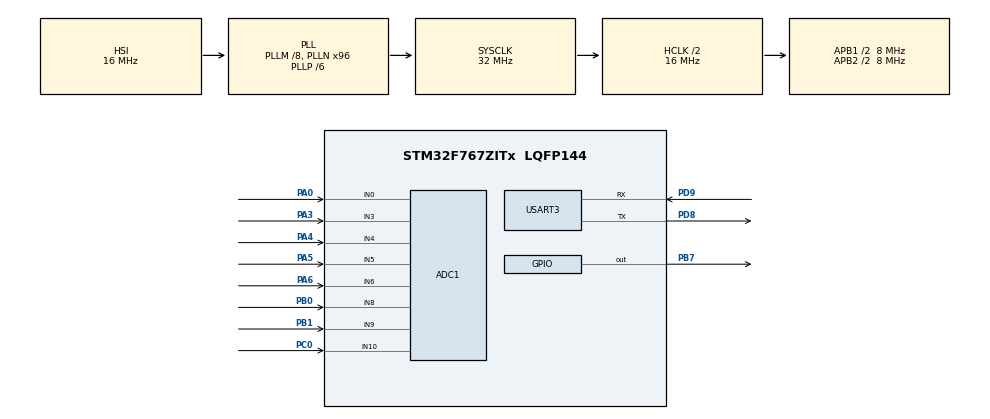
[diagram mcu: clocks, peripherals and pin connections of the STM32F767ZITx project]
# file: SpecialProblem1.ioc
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ADC1.Channel-10\#ChannelRegularConversion=ADC_CHANNEL_5
ADC1.Channel-11\#ChannelRegularConversion=ADC_CHANNEL_6
ADC1.Channel-12\#ChannelRegularConversion=ADC_CHANNEL_8
ADC1.Channel-13\#ChannelRegularConversion=ADC_CHANNEL_9
ADC1.Channel-14\#ChannelRegularConversion=ADC_CHANNEL_10
ADC1.Channel-7\#ChannelRegularConversion=ADC_CHANNEL_0
ADC1.Channel-8\#ChannelRegularConversion=ADC_CHANNEL_3
ADC1.Channel-9\#ChannelRegularConversion=ADC_CHANNEL_4
ADC1.ClockPrescaler=ADC_CLOCK_SYNC_PCLK_DIV8
ADC1.ContinuousConvMode=ENABLE
ADC1.DMAContinuousRequests=ENABLE
ADC1.EOCSelection=ADC_EOC_SEQ_CONV
ADC1.NbrOfConversion=8
ADC1.NbrOfConversionFlag=1
ADC1.Rank-10\#ChannelRegularConversion=4
ADC1.Rank-11\#ChannelRegularConversion=5
ADC1.Rank-12\#ChannelRegularConversion=6
ADC1.Rank-13\#ChannelRegularConversion=7
ADC1.Rank-14\#ChannelRegularConversion=8
ADC1.Rank-7\#ChannelRegularConversion=1
ADC1.Rank-8\#ChannelRegularConversion=2
ADC1.Rank-9\#ChannelRegularConversion=3
ADC1.SamplingTime-10\#ChannelRegularConversion=ADC_SAMPLETIME_3CYCLES
ADC1.SamplingTime-11\#ChannelRegularConversion=ADC_SAMPLETIME_3CYCLES
ADC1.SamplingTime-12\#ChannelRegularConversion=ADC_SAMPLETIME_3CYCLES
ADC1.SamplingTime-13\#ChannelRegularConversion=ADC_SAMPLETIME_3CYCLES
ADC1.SamplingTime-14\#ChannelRegularConversion=ADC_SAMPLETIME_3CYCLES
ADC1.SamplingTime-7\#ChannelRegularConversion=ADC_SAMPLETIME_3CYCLES
ADC1.SamplingTime-8\#ChannelRegularConversion=ADC_SAMPLETIME_3CYCLES
ADC1.SamplingTime-9\#ChannelRegularConversion=ADC_SAMPLETIME_3CYCLES
ADC1.ScanConvMode=ADC_SCAN_ENABLE
ADC1.master=1
CORTEX_M7.default_mode_Activation=1
Dma.ADC1.0.Direction=DMA_PERIPH_TO_MEMORY
Dma.ADC1.0.FIFOMode=DMA_FIFOMODE_DISABLE
Dma.ADC1.0.Instance=DMA2_Stream0
Dma.ADC1.0.MemDataAlignment=DMA_MDATAALIGN_WORD
Dma.ADC1.0.MemInc=DMA_MINC_ENABLE
Dma.ADC1.0.Mode=DMA_CIRCULAR
Dma.ADC1.0.PeriphDataAlignment=DMA_PDATAALIGN_WORD
Dma.ADC1.0.PeriphInc=DMA_PINC_DISABLE
Dma.ADC1.0.Priority=DMA_PRIORITY_LOW
Dma.Request0=ADC1
Mcu.Family=STM32F7
Mcu.Name=STM32F767ZITx
Mcu.Package=LQFP144
NVIC.DMA2_Stream0_IRQn=true\:1\:0\:true\:false\:true\:false\:true\:true
NVIC.PriorityGroup=NVIC_PRIORITYGROUP_2
PA0/WKUP.Signal=ADCx_IN0
PA3.Signal=ADCx_IN3
PA4.Signal=ADCx_IN4
PA5.Signal=ADCx_IN5
PA6.Signal=ADCx_IN6
PB0.Signal=ADCx_IN8
PB1.Signal=ADCx_IN9
PB7.Signal=GPIO_Output
PC0.Signal=ADCx_IN10
PD8.Mode=Asynchronous
PD8.Signal=USART3_TX
PD9.Mode=Asynchronous
PD9.Signal=USART3_RX
ProjectManager.HeapSize=0x200
ProjectManager.StackSize=0x400
ProjectManager.TargetToolchain=STM32CubeIDE
RCC.AHBCLKDivider=RCC_SYSCLK_DIV2
RCC.AHBFreq_Value=16000000
RCC.APB1CLKDivider=RCC_HCLK_DIV2
RCC.APB1Freq_Value=8000000
RCC.APB1TimFreq_Value=16000000
RCC.APB2CLKDivider=RCC_HCLK_DIV2
RCC.APB2Freq_Value=8000000
RCC.APB2TimFreq_Value=16000000
RCC.CortexFreq_Value=16000000
RCC.HCLKFreq_Value=16000000
RCC.HSE_VALUE=25000000
RCC.HSI_VALUE=16000000
RCC.LSE_VALUE=32768
RCC.PLLM=8
RCC.PLLN=96
RCC.PLLP=RCC_PLLP_DIV6
RCC.SYSCLKFreq_VALUE=32000000
RCC.SYSCLKSource=RCC_SYSCLKSOURCE_PLLCLK
RCC.USBFreq_Value=96000000
RCC.VCOOutputFreq_Value=192000000
SH.ADCx_IN0.0=ADC1_IN0,IN0
SH.ADCx_IN10.0=ADC1_IN10,IN10
SH.ADCx_IN3.0=ADC1_IN3,IN3
SH.ADCx_IN4.0=ADC1_IN4,IN4
SH.ADCx_IN5.0=ADC1_IN5,IN5
SH.ADCx_IN6.0=ADC1_IN6,IN6
SH.ADCx_IN8.0=ADC1_IN8,IN8
SH.ADCx_IN9.0=ADC1_IN9,IN9
USART3.VirtualMode-Asynchronous=VM_ASYNC
board=custom

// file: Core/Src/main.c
/* USER CODE BEGIN Header */
/**
  ******************************************************************************
  * @file           : main.c
  * @brief          : Main program body
  ******************************************************************************
  * @attention
  *
  * Copyright (c) 2025 STMicroelectronics.
  * All rights reserved.
  *
  * This software is licensed under terms that can be found in the LICENSE file
  * in the root directory of this software component.
  * If no LICENSE file comes with this software, it is provided AS-IS.
  *
  ******************************************************************************
  */
/* USER CODE END Header */
#include "main.h"
#include "adc.h"
#include "dma.h"
#include "usart.h"
#include "gpio.h"

/* USER CODE BEGIN Includes */
#include <stdio.h>
#include <string.h>
/* USER CODE END Includes */

/* USER CODE BEGIN PV */
uint32_t adc_buffer[8];
/* USER CODE END PV */

void SystemClock_Config(void);
static void MPU_Config(void);

/* USER CODE BEGIN 0 */
static void print_adc_line(int start, int stop) {
    char msg[160];
    char *p = msg;
    size_t remaining = sizeof(msg);

    for (int i = start; i < stop; i++) {
    	uint32_t value = adc_buffer[i];
        uint32_t millivolts = (value * 3300) / 4095;

        uint32_t volts_whole = millivolts / 1000;
        uint32_t volts_frac  = (millivolts % 1000) / 10;

        int n = snprintf(p, remaining, "ADC1_CH%d 0x%08lX Vin = %lu.%02lu V\r\n",
                         i, value, volts_whole, volts_frac);
        if (n < 0 || (size_t)n >= remaining) break;
        p += n;
        remaining -= n;
    }

    snprintf(p, remaining, "\r");

    HAL_UART_Transmit(&huart3, (uint8_t*)msg, strlen(msg), HAL_MAX_DELAY);
}

void HAL_ADC_ConvHalfCpltCallback(ADC_HandleTypeDef* hadc) {
    if (hadc->Instance == ADC1) {
    	print_adc_line(0, 4);
        HAL_GPIO_WritePin(GPIOB, GPIO_PIN_7, GPIO_PIN_SET);
        HAL_Delay(500);
    }
}

void HAL_ADC_ConvCpltCallback(ADC_HandleTypeDef* hadc) {
    if (hadc->Instance == ADC1) {
        HAL_GPIO_WritePin(GPIOB, GPIO_PIN_7, GPIO_PIN_RESET);
        print_adc_line(4, 8);
        HAL_Delay(500);
    }
}

/* USER CODE END 0 */

int main(void)
{

  /* MPU Configuration--------------------------------------------------------*/
  MPU_Config();

  /* MCU Configuration--------------------------------------------------------*/

  /* Reset of all peripherals, Initializes the Flash interface and the Systick. */
  HAL_Init();

  /* Configure the system clock */
  SystemClock_Config();

  /* Initialize all configured peripherals */
  MX_GPIO_Init();
  MX_DMA_Init();
  MX_ADC1_Init();
  MX_USART3_UART_Init();
  /* USER CODE BEGIN 2 */

  if (HAL_ADC_Start_DMA(&hadc1, (uint32_t*)adc_buffer, 8) != HAL_OK) {
        Error_Handler();
    }
  /* USER CODE END 2 */

  /* Infinite loop */
  while (1)
  {

  }
}

void SystemClock_Config(void)
{
  RCC_OscInitTypeDef RCC_OscInitStruct = {0};
  RCC_ClkInitTypeDef RCC_ClkInitStruct = {0};

  /** Configure the main internal regulator output voltage
  */
  __HAL_RCC_PWR_CLK_ENABLE();
  __HAL_PWR_VOLTAGESCALING_CONFIG(PWR_REGULATOR_VOLTAGE_SCALE3);

  /** Initializes the RCC Oscillators according to the specified parameters
  * in the RCC_OscInitTypeDef structure.
  */
  RCC_OscInitStruct.OscillatorType = RCC_OSCILLATORTYPE_HSI;
  RCC_OscInitStruct.HSIState = RCC_HSI_ON;
  RCC_OscInitStruct.HSICalibrationValue = RCC_HSICALIBRATION_DEFAULT;
  RCC_OscInitStruct.PLL.PLLState = RCC_PLL_ON;
  RCC_OscInitStruct.PLL.PLLSource = RCC_PLLSOURCE_HSI;
  RCC_OscInitStruct.PLL.PLLM = 8;
  RCC_OscInitStruct.PLL.PLLN = 96;
  RCC_OscInitStruct.PLL.PLLP = RCC_PLLP_DIV6;
  RCC_OscInitStruct.PLL.PLLQ = 2;
  RCC_OscInitStruct.PLL.PLLR = 2;
  if (HAL_RCC_OscConfig(&RCC_OscInitStruct) != HAL_OK)
  {
    Error_Handler();
  }

  /** Initializes the CPU, AHB and APB buses clocks
  */
  RCC_ClkInitStruct.ClockType = RCC_CLOCKTYPE_HCLK|RCC_CLOCKTYPE_SYSCLK
                              |RCC_CLOCKTYPE_PCLK1|RCC_CLOCKTYPE_PCLK2;
  RCC_ClkInitStruct.SYSCLKSource = RCC_SYSCLKSOURCE_PLLCLK;
  RCC_ClkInitStruct.AHBCLKDivider = RCC_SYSCLK_DIV2;
  RCC_ClkInitStruct.APB1CLKDivider = RCC_HCLK_DIV2;
  RCC_ClkInitStruct.APB2CLKDivider = RCC_HCLK_DIV2;

  if (HAL_RCC_ClockConfig(&RCC_ClkInitStruct, FLASH_LATENCY_0) != HAL_OK)
  {
    Error_Handler();
  }
}

 /* MPU Configuration */

void MPU_Config(void)
{
  MPU_Region_InitTypeDef MPU_InitStruct = {0};

  /* Disables the MPU */
  HAL_MPU_Disable();

  /** Initializes and configures the Region and the memory to be protected
  */
  MPU_InitStruct.Enable = MPU_REGION_ENABLE;
  MPU_InitStruct.Number = MPU_REGION_NUMBER0;
  MPU_InitStruct.BaseAddress = 0x0;
  MPU_InitStruct.Size = MPU_REGION_SIZE_4GB;
  MPU_InitStruct.SubRegionDisable = 0x87;
  MPU_InitStruct.TypeExtField = MPU_TEX_LEVEL0;
  MPU_InitStruct.AccessPermission = MPU_REGION_NO_ACCESS;
  MPU_InitStruct.DisableExec = MPU_INSTRUCTION_ACCESS_DISABLE;
  MPU_InitStruct.IsShareable = MPU_ACCESS_SHAREABLE;
  MPU_InitStruct.IsCacheable = MPU_ACCESS_NOT_CACHEABLE;
  MPU_InitStruct.IsBufferable = MPU_ACCESS_NOT_BUFFERABLE;

  HAL_MPU_ConfigRegion(&MPU_InitStruct);
  /* Enables the MPU */
  HAL_MPU_Enable(MPU_PRIVILEGED_DEFAULT);

}

void Error_Handler(void)
{
  __disable_irq();
  while (1)
  {
  }
}
